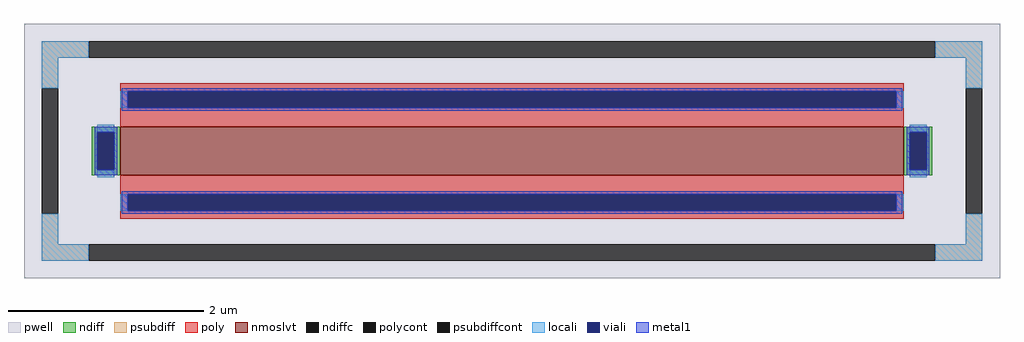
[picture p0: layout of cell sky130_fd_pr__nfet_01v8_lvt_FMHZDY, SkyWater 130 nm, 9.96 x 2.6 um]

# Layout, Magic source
magic
tech sky130A
<< pwell >>
rect -498 -130 498 130
<< nmoslvt >>
rect -400 -25 400 25
<< ndiff >>
rect -429 19 -400 25
rect -429 -19 -423 19
rect -406 -19 -400 19
rect -429 -25 -400 -19
rect 400 19 429 25
rect 400 -19 406 19
rect 423 -19 429 19
rect 400 -25 429 -19
<< ndiffc >>
rect -423 -19 -406 19
rect 406 -19 423 19
<< psubdiff >>
rect -480 95 -432 112
rect 432 95 480 112
rect -480 64 -463 95
rect 463 64 480 95
rect -480 -95 -463 -64
rect 463 -95 480 -64
rect -480 -112 -432 -95
rect 432 -112 480 -95
<< psubdiffcont >>
rect -432 95 432 112
rect -480 -64 -463 64
rect 463 -64 480 64
rect -432 -112 432 -95
<< poly >>
rect -400 61 400 69
rect -400 44 -392 61
rect 392 44 400 61
rect -400 25 400 44
rect -400 -44 400 -25
rect -400 -61 -392 -44
rect 392 -61 400 -44
rect -400 -69 400 -61
<< polycont >>
rect -392 44 392 61
rect -392 -61 392 -44
<< locali >>
rect -480 95 -432 112
rect 432 95 480 112
rect -480 64 -463 95
rect 463 64 480 95
rect -400 44 -392 61
rect 392 44 400 61
rect -423 19 -406 27
rect -423 -27 -406 -19
rect 406 19 423 27
rect 406 -27 423 -19
rect -400 -61 -392 -44
rect 392 -61 400 -44
rect -480 -95 -463 -64
rect 463 -95 480 -64
rect -480 -112 -432 -95
rect 432 -112 480 -95
<< viali >>
rect -392 44 392 61
rect -423 -19 -406 19
rect 406 -19 423 19
rect -392 -61 392 -44
<< metal1 >>
rect -398 61 398 64
rect -398 44 -392 61
rect 392 44 398 61
rect -398 41 398 44
rect -426 19 -403 25
rect -426 -19 -423 19
rect -406 -19 -403 19
rect -426 -25 -403 -19
rect 403 19 426 25
rect 403 -19 406 19
rect 423 -19 426 19
rect 403 -25 426 -19
rect -398 -44 398 -41
rect -398 -61 -392 -44
rect 392 -61 398 -44
rect -398 -64 398 -61
<< properties >>
string FIXED_BBOX -471 -103 471 103
string gencell sky130_fd_pr__nfet_01v8_lvt
string library sky130
string parameters w 0.5 l 8.0 m 1 nf 1 diffcov 100 polycov 100 guard 1 glc 1 grc 1 gtc 1 gbc 1 tbcov 100 rlcov 100 topc 1 botc 1 poverlap 0 doverlap 1 lmin 0.15 wmin 0.42 compatible {sky130_fd_pr__nfet_01v8 sky130_fd_pr__nfet_01v8_lvt  sky130_fd_bs_flash__special_sonosfet_star  sky130_fd_pr__nfet_g5v0d10v5 sky130_fd_pr__nfet_05v0_nvt  sky130_fd_pr__nfet_03v3_nvt} full_metal 1 viasrc 100 viadrn 100 viagate 100 viagb 0 viagr 0 viagl 0 viagt 0
<< end >>
